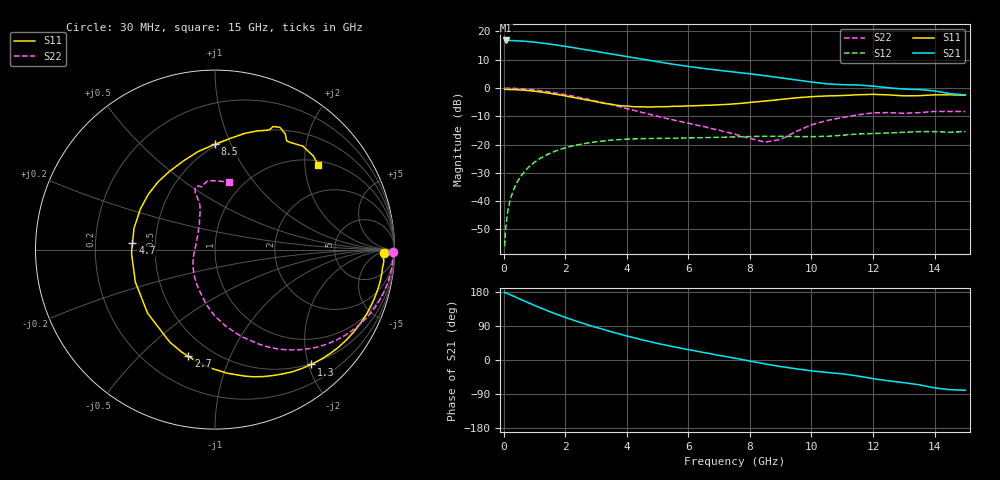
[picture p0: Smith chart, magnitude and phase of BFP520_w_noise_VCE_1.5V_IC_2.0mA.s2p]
! Infineon Technologies  Discrete & RF Semiconductors
! BFP520
! VCE =  1.5 V,  IC =  2.0 mA
! Common Emitter S-Parameters:  Oct 2015
# GHz  S  MA  R  50
!  f  S11  S21  S12  S22
! GHz  MAG  ANG  MAG  ANG  MAG  ANG  MAG  ANG
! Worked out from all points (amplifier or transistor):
!   109 points, 30 MHz to 15 GHz, reference 50 ohm
!   highest |S21| = 16.8 dB at 70 MHz (marker M1)
!   |S21| within 3 dB of that: start of sweep to 2.515 GHz
!   unconditionally stable (mu >= 1): 5.039 GHz to end of sweep
!   at 450 MHz: K = 0.05, MSG = 24.9 dB, |S12| = -33.1 dB
!   at 4 GHz: K = 0.76, MSG = 14.6 dB, |S12| = -18.1 dB
!   at 15 GHz: K = 1.65, MAG = 1.8 dB, |S12| = -15.4 dB
!   lowest NFmin = 0.94 dB at 900 MHz
!   S11 on the Smith chart (normalised r, x): 30 MHz: 31, -9; 1.3 GHz: 0.48, -2.05; 2.7 GHz: 0.37, -0.71; 4.7 GHz: 0.37, +0.03; 8.5 GHz: 0.49, +0.87; 15 GHz: 1.11, +2.34
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0.03  0.942 -1.0  6.902 178.7  0.0016 88.8  0.9917 -0.7
0.07  0.9423 -2.6  6.909 176.9  0.0035 89.6  0.9927 -1.7
0.15  0.9387 -5.7  6.876 174.3  0.0074 87.0  0.9913 -3.8
0.25  0.9381 -9.6  6.879 170.9  0.0123 84.9  0.9887 -6.3
0.6  0.9182 -23.0  6.738 158.2  0.0296 77.5  0.9668 -15.1
1  0.8764 -38.5  6.445 144.1  0.0486 68.8  0.922 -24.9
1.3  0.8356 -50.0  6.166 134.1  0.0617 62.3  0.8783 -31.9
1.6  0.7873 -61.7  5.86 124.4  0.0736 56.0  0.8291 -38.5
1.9  0.7404 -73.1  5.536 115.5  0.0841 50.0  0.7783 -44.6
2.2  0.6911 -84.6  5.216 106.9  0.0933 44.4  0.726 -50.3
2.6  0.6286 -100.1  4.808 96.1  0.1036 37.4  0.6565 -57.5
2.7  0.613 -104.0  4.707 93.6  0.1058 35.7  0.6391 -59.2
3.5  0.5164 -136.6  3.995 74.3  0.1198 23.3  0.5069 -73.1
4  0.4792 -157.8  3.596 63.3  0.1248 16.6  0.432 -81.9
4.7  0.4611 175.6  3.093 49.5  0.1277 8.8  0.3459 -93.3
5.1  0.4658 162.5  2.849 42.0  0.1285 5.1  0.3058 -99.3
6.1  0.4834 138.3  2.36 25.8  0.1312 -2.0  0.2318 -113.9
7.6  0.5288 107.7  1.88 3.4  0.1368 -11.3  0.1474 -146.4
8.5  0.5873 90.0  1.642 -10.4  0.1399 -17.3  0.1104 174.3
10.5  0.7228 66.8  1.183 -32.9  0.1397 -25.5  0.2657 108.5
13  0.7255 56.6  0.955 -59.8  0.1645 -39.9  0.3567 101.9
15  0.7429 39.4  0.756 -79.8  0.1698 -53.1  0.3823 78.0
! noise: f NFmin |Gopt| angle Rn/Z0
0.45  0.96  0.67  4  0.42
0.9  0.94  0.62  13  0.44
1.9  1.27  0.51  28  0.36
2.4  1.35  0.47  39  0.35
3.5  1.32  0.46  64  0.31
